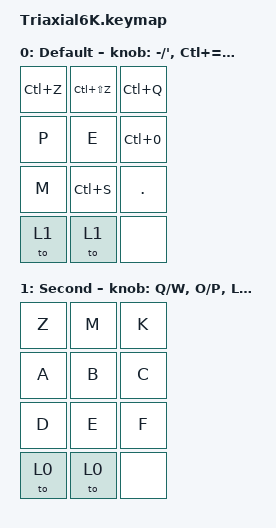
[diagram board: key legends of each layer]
#include <behaviors.dtsi>
#include <dt-bindings/zmk/keys.h>

/ {
    keymap {
        compatible = "zmk,keymap";

        default_layer { // Layer 0
            display-name = "Default";

            bindings = <
                &kp LC(Z)   &kp LC(LS(Z))   &kp LC(Q)
                &kp P       &kp E           &kp LC(NUMBER_0)
                &kp M       &kp LC(S)       &kp DOT
                &to 1       &to 1           &none
            >;
            sensor-bindings = <
                &inc_dec_kp MINUS SINGLE_QUOTE
                &inc_dec_kp LC(EQUAL) LC(MINUS)
                &inc_dec_kp RIGHT_BRACKET LEFT_BRACKET
            >;
        };
        second_layer {
            display-name = "Second";
            // status = "reserved";
            bindings = <
                &kp Z       &kp M       &kp K
                &kp A       &kp B       &kp C
                &kp D       &kp E       &kp F
                &to 0       &to 0       &none
            >;
            // sensor-bindings = <&inc_dec_kp C_VOL_UP C_VOL_DN &inc_dec_kp PG_UP PG_DN>;
            sensor-bindings = <
                &inc_dec_kp Q W
                &inc_dec_kp O P
                &inc_dec_kp L J
            >;
        };
    };
};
